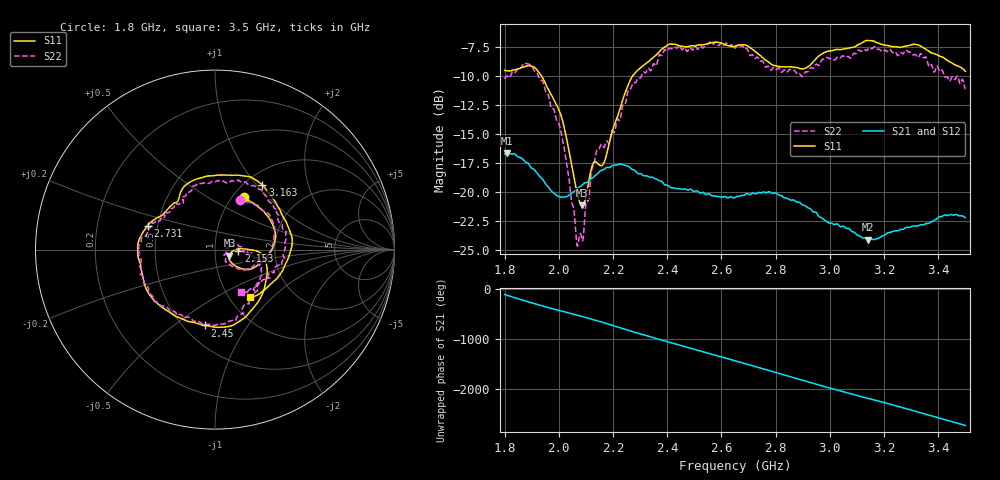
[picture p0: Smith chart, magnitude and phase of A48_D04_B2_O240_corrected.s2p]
! Created with skrf 1.9.0 (http://scikit-rf.org).
# Hz S RI R 50.0
!freq ReS11 ImS11 ReS21 ImS21 ReS12 ImS12 ReS22 ImS22
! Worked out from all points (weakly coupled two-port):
!   1601 points, 1.8 GHz to 3.5 GHz, reference 50 ohm
!   highest |S21| = -16.65 dB at 1.81 GHz (marker M1); lowest = -24.1 dB at 3.142 GHz (marker M2)
!   lowest |S11| = -21.2 dB at 2.086 GHz (marker M3), VSWR 1.19, Z = 58.6 - j4 ohm
!   |S11| at or under -10 dB: 1.936 GHz to 2.272 GHz (335.8 MHz wide, 16 % of centre)
!   |S22| runs from -24.7 to -7.0 dB; largest |S21 - S12| = 0.0023
!   S11 on the Smith chart (normalised r, x): 1.8 GHz: 1.13, +0.74; 2.153 GHz: 1.30, -0.01; 2.45 GHz: 0.63, -0.65; 2.731 GHz: 0.44, +0.14; 3.163 GHz: 1.19, +1.07; 3.5 GHz: 1.25, -0.74
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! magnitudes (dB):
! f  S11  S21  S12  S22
! 1.8 GHz  -9.5  -16.7  -16.7  -10.2
! 1.81 GHz  -9.6  -16.6  -16.6  -10.0
! 1.881 GHz  -9.1  -17.5  -17.5  -8.9
! 1.941 GHz  -10.2  -18.9  -18.9  -10.5
! 2.007 GHz  -13.3  -20.5  -20.4  -14.8
! 2.066 GHz  -19.9  -19.8  -19.7  -24.4
! 2.084 GHz  -21.1  -19.5  -19.4  -23.9
! 2.086 GHz  -21.2  -19.4  -19.4  -24.1
! 2.126 GHz  -17.6  -18.8  -18.7  -17.8
! 2.153 GHz  -17.7  -18.2  -18.2  -16.1
! 2.186 GHz  -15.8  -17.9  -17.9  -15.8
! 2.265 GHz  -10.3  -18.0  -17.9  -11.1
! 2.367 GHz  -8.0  -19.0  -18.9  -8.4
! 2.45 GHz  -7.4  -19.8  -19.7  -7.6
! 2.65 GHz  -7.4  -20.5  -20.5  -7.6
! 2.731 GHz  -8.0  -20.1  -20.2  -8.4
! 2.934 GHz  -8.9  -21.6  -21.6  -9.3
! 3.142 GHz  -6.9  -24.1  -24.0  -7.6
! 3.163 GHz  -7.0  -24.1  -24.1  -7.5
! 3.217 GHz  -7.4  -23.5  -23.5  -7.7
! 3.34 GHz  -7.5  -22.8  -22.8  -8.2
! 3.5 GHz  -9.6  -22.2  -22.2  -11.1
